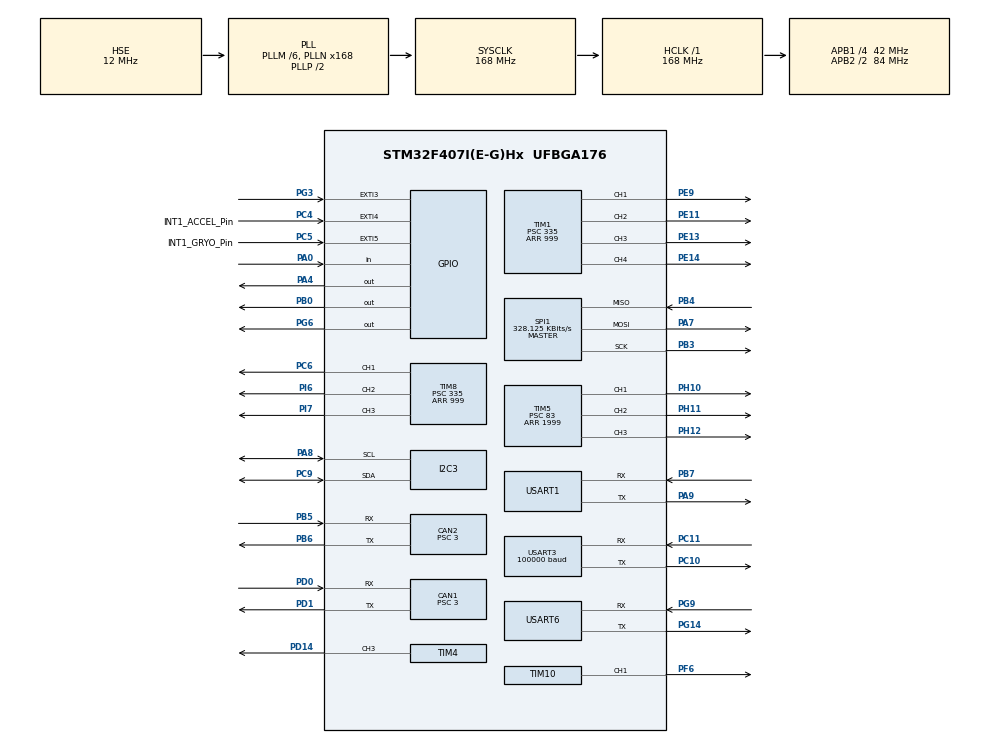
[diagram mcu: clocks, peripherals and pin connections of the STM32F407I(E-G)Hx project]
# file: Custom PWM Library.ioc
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CAN1.BS1=CAN_BS1_10TQ
CAN1.BS2=CAN_BS2_3TQ
CAN1.CalculateBaudRate=1000000
CAN1.CalculateTimeBit=1000
CAN1.CalculateTimeQuantum=71.42857142857143
CAN1.Prescaler=3
CAN2.BS1=CAN_BS1_10TQ
CAN2.BS2=CAN_BS2_3TQ
CAN2.CalculateBaudRate=1000000
CAN2.CalculateTimeBit=1000
CAN2.CalculateTimeQuantum=71.42857142857143
CAN2.Prescaler=3
Dma.Request0=USART3_RX
Dma.Request1=USART1_TX
Dma.Request2=USART1_RX
Dma.Request3=USART6_RX
Dma.Request4=USART6_TX
Dma.Request5=TIM8_CH1/CH2/CH3
Dma.Request6=TIM4_CH3
Dma.Request7=TIM1_CH1
Dma.TIM1_CH1.7.Direction=DMA_PERIPH_TO_MEMORY
Dma.TIM1_CH1.7.FIFOMode=DMA_FIFOMODE_DISABLE
Dma.TIM1_CH1.7.Instance=DMA2_Stream3
Dma.TIM1_CH1.7.MemDataAlignment=DMA_MDATAALIGN_HALFWORD
Dma.TIM1_CH1.7.MemInc=DMA_MINC_ENABLE
Dma.TIM1_CH1.7.Mode=DMA_NORMAL
Dma.TIM1_CH1.7.PeriphDataAlignment=DMA_PDATAALIGN_HALFWORD
Dma.TIM1_CH1.7.PeriphInc=DMA_PINC_DISABLE
Dma.TIM1_CH1.7.Priority=DMA_PRIORITY_LOW
Dma.TIM4_CH3.6.Direction=DMA_PERIPH_TO_MEMORY
Dma.TIM4_CH3.6.FIFOMode=DMA_FIFOMODE_DISABLE
Dma.TIM4_CH3.6.Instance=DMA1_Stream7
Dma.TIM4_CH3.6.MemDataAlignment=DMA_MDATAALIGN_HALFWORD
Dma.TIM4_CH3.6.MemInc=DMA_MINC_ENABLE
Dma.TIM4_CH3.6.Mode=DMA_NORMAL
Dma.TIM4_CH3.6.PeriphDataAlignment=DMA_PDATAALIGN_HALFWORD
Dma.TIM4_CH3.6.PeriphInc=DMA_PINC_DISABLE
Dma.TIM4_CH3.6.Priority=DMA_PRIORITY_LOW
Dma.TIM8_CH1/CH2/CH3.5.Direction=DMA_PERIPH_TO_MEMORY
Dma.TIM8_CH1/CH2/CH3.5.FIFOMode=DMA_FIFOMODE_DISABLE
Dma.TIM8_CH1/CH2/CH3.5.Instance=DMA2_Stream2
Dma.TIM8_CH1/CH2/CH3.5.MemDataAlignment=DMA_MDATAALIGN_HALFWORD
Dma.TIM8_CH1/CH2/CH3.5.MemInc=DMA_MINC_ENABLE
Dma.TIM8_CH1/CH2/CH3.5.Mode=DMA_NORMAL
Dma.TIM8_CH1/CH2/CH3.5.PeriphDataAlignment=DMA_PDATAALIGN_HALFWORD
Dma.TIM8_CH1/CH2/CH3.5.PeriphInc=DMA_PINC_DISABLE
Dma.TIM8_CH1/CH2/CH3.5.Priority=DMA_PRIORITY_LOW
Dma.USART1_RX.2.Direction=DMA_PERIPH_TO_MEMORY
Dma.USART1_RX.2.FIFOMode=DMA_FIFOMODE_DISABLE
Dma.USART1_RX.2.Instance=DMA2_Stream5
Dma.USART1_RX.2.MemDataAlignment=DMA_MDATAALIGN_BYTE
Dma.USART1_RX.2.MemInc=DMA_MINC_ENABLE
Dma.USART1_RX.2.Mode=DMA_NORMAL
Dma.USART1_RX.2.PeriphDataAlignment=DMA_PDATAALIGN_BYTE
Dma.USART1_RX.2.PeriphInc=DMA_PINC_DISABLE
Dma.USART1_RX.2.Priority=DMA_PRIORITY_VERY_HIGH
Dma.USART1_TX.1.Direction=DMA_MEMORY_TO_PERIPH
Dma.USART1_TX.1.FIFOMode=DMA_FIFOMODE_DISABLE
Dma.USART1_TX.1.Instance=DMA2_Stream7
Dma.USART1_TX.1.MemDataAlignment=DMA_MDATAALIGN_BYTE
Dma.USART1_TX.1.MemInc=DMA_MINC_ENABLE
Dma.USART1_TX.1.Mode=DMA_NORMAL
Dma.USART1_TX.1.PeriphDataAlignment=DMA_PDATAALIGN_BYTE
Dma.USART1_TX.1.PeriphInc=DMA_PINC_DISABLE
Dma.USART1_TX.1.Priority=DMA_PRIORITY_VERY_HIGH
Dma.USART3_RX.0.Direction=DMA_PERIPH_TO_MEMORY
Dma.USART3_RX.0.FIFOMode=DMA_FIFOMODE_DISABLE
Dma.USART3_RX.0.Instance=DMA1_Stream1
Dma.USART3_RX.0.MemDataAlignment=DMA_MDATAALIGN_BYTE
Dma.USART3_RX.0.MemInc=DMA_MINC_ENABLE
Dma.USART3_RX.0.Mode=DMA_CIRCULAR
Dma.USART3_RX.0.PeriphDataAlignment=DMA_PDATAALIGN_BYTE
Dma.USART3_RX.0.PeriphInc=DMA_PINC_DISABLE
Dma.USART3_RX.0.Priority=DMA_PRIORITY_VERY_HIGH
Dma.USART6_RX.3.Direction=DMA_PERIPH_TO_MEMORY
Dma.USART6_RX.3.FIFOMode=DMA_FIFOMODE_DISABLE
Dma.USART6_RX.3.Instance=DMA2_Stream1
Dma.USART6_RX.3.MemDataAlignment=DMA_MDATAALIGN_BYTE
Dma.USART6_RX.3.MemInc=DMA_MINC_ENABLE
Dma.USART6_RX.3.Mode=DMA_NORMAL
Dma.USART6_RX.3.PeriphDataAlignment=DMA_PDATAALIGN_BYTE
Dma.USART6_RX.3.PeriphInc=DMA_PINC_DISABLE
Dma.USART6_RX.3.Priority=DMA_PRIORITY_VERY_HIGH
Dma.USART6_TX.4.Direction=DMA_MEMORY_TO_PERIPH
Dma.USART6_TX.4.FIFOMode=DMA_FIFOMODE_DISABLE
Dma.USART6_TX.4.Instance=DMA2_Stream6
Dma.USART6_TX.4.MemDataAlignment=DMA_MDATAALIGN_BYTE
Dma.USART6_TX.4.MemInc=DMA_MINC_ENABLE
Dma.USART6_TX.4.Mode=DMA_NORMAL
Dma.USART6_TX.4.PeriphDataAlignment=DMA_PDATAALIGN_BYTE
Dma.USART6_TX.4.PeriphInc=DMA_PINC_DISABLE
Dma.USART6_TX.4.Priority=DMA_PRIORITY_VERY_HIGH
FREERTOS.INCLUDE_pcTaskGetTaskName=1
FREERTOS.INCLUDE_xTaskGetHandle=1
FREERTOS.Tasks01=defaultTask,32,1024,TaskMain,Default,NULL,Dynamic,NULL,NULL;chassisTask,40,1024,TaskChassis,Default,NULL,Dynamic,NULL,NULL;IMUtempPIDtask,24,512,imu_temp_control_task,As weak,NULL,Dynamic,NULL,NULL;turretTask,24,1024,TaskTurret,Default,NULL,Dynamic,NULL,NULL
FREERTOS.configUSE_NEWLIB_REENTRANT=1
I2C3.I2C_Mode=I2C_Fast
Mcu.Family=STM32F4
Mcu.Name=STM32F407I(E-G)Hx
Mcu.Package=UFBGA176
NVIC.CAN1_RX0_IRQn=true\:5\:0\:false\:false\:true\:true\:true\:true\:true
NVIC.CAN2_RX0_IRQn=true\:5\:0\:false\:false\:true\:true\:true\:true\:true
NVIC.DMA1_Stream1_IRQn=true\:5\:0\:false\:false\:true\:true\:false\:true\:true
NVIC.DMA1_Stream7_IRQn=true\:5\:0\:false\:false\:true\:true\:false\:true\:true
NVIC.DMA2_Stream1_IRQn=true\:5\:0\:false\:false\:true\:true\:false\:true\:true
NVIC.DMA2_Stream2_IRQn=true\:5\:0\:false\:false\:true\:true\:false\:true\:true
NVIC.DMA2_Stream3_IRQn=true\:5\:0\:false\:false\:true\:true\:false\:true\:true
NVIC.DMA2_Stream5_IRQn=true\:5\:0\:false\:false\:true\:true\:false\:true\:true
NVIC.DMA2_Stream6_IRQn=true\:5\:0\:false\:false\:true\:true\:false\:true\:true
NVIC.DMA2_Stream7_IRQn=true\:5\:0\:false\:false\:true\:true\:false\:true\:true
NVIC.EXTI3_IRQn=true\:5\:0\:false\:false\:true\:true\:true\:true\:true
NVIC.EXTI4_IRQn=true\:5\:0\:false\:false\:true\:true\:true\:true\:true
NVIC.PriorityGroup=NVIC_PRIORITYGROUP_4
NVIC.USART1_IRQn=true\:5\:0\:false\:false\:true\:true\:true\:true\:true
NVIC.USART3_IRQn=true\:5\:0\:false\:false\:false\:true\:true\:true\:true
NVIC.USART6_IRQn=true\:5\:0\:false\:false\:true\:true\:true\:true\:true
PA0-WKUP.Signal=GPIO_Input
PA13.Mode=Serial_Wire
PA13.Signal=SYS_JTMS-SWDIO
PA14.Mode=Serial_Wire
PA14.Signal=SYS_JTCK-SWCLK
PA4.Signal=GPIO_Output
PA7.Mode=Full_Duplex_Master
PA7.Signal=SPI1_MOSI
PA8.Mode=I2C
PA8.Signal=I2C3_SCL
PA9.Mode=Asynchronous
PA9.Signal=USART1_TX
PB0.Signal=GPIO_Output
PB3.Mode=Full_Duplex_Master
PB3.Signal=SPI1_SCK
PB4.Mode=Full_Duplex_Master
PB4.Signal=SPI1_MISO
PB5.Mode=CAN_Activate
PB5.Signal=CAN2_RX
PB6.Mode=CAN_Activate
PB6.Signal=CAN2_TX
PB7.Mode=Asynchronous
PB7.Signal=USART1_RX
PC10.Mode=Asynchronous
PC10.Signal=USART3_TX
PC11.Mode=Asynchronous
PC11.Signal=USART3_RX
PC4.GPIO_Label=INT1_ACCEL_Pin
PC4.Signal=GPXTI4
PC5.GPIO_Label=INT1_GRYO_Pin
PC5.Signal=GPXTI5
PC6.Signal=S_TIM8_CH1
PC9.Mode=I2C
PC9.Signal=I2C3_SDA
PD0.Mode=CAN_Activate
PD0.Signal=CAN1_RX
PD1.Mode=CAN_Activate
PD1.Signal=CAN1_TX
PD14.Signal=S_TIM4_CH3
PE11.Signal=S_TIM1_CH2
PE13.Signal=S_TIM1_CH3
PE14.Signal=S_TIM1_CH4
PE9.Signal=S_TIM1_CH1
PF6.GPIO_PuPd=GPIO_PULLUP
PF6.GPIO_Speed=GPIO_SPEED_FREQ_HIGH
PF6.Signal=S_TIM10_CH1
PG14.Mode=Asynchronous
PG14.Signal=USART6_TX
PG3.Signal=GPXTI3
PG6.Signal=GPIO_Output
PG9.Mode=Asynchronous
PG9.Signal=USART6_RX
PH0-OSC_IN.Mode=HSE-External-Oscillator
PH0-OSC_IN.Signal=RCC_OSC_IN
PH1-OSC_OUT.Mode=HSE-External-Oscillator
PH1-OSC_OUT.Signal=RCC_OSC_OUT
PH10.Signal=S_TIM5_CH1
PH11.Signal=S_TIM5_CH2
PH12.Signal=S_TIM5_CH3
PI6.Signal=S_TIM8_CH2
PI7.Signal=S_TIM8_CH3
ProjectManager.HeapSize=0x200
ProjectManager.StackSize=0x400
ProjectManager.TargetToolchain=STM32CubeIDE
RCC.48MHZClocksFreq_Value=84000000
RCC.AHBFreq_Value=168000000
RCC.APB1CLKDivider=RCC_HCLK_DIV4
RCC.APB1Freq_Value=42000000
RCC.APB1TimFreq_Value=84000000
RCC.APB2CLKDivider=RCC_HCLK_DIV2
RCC.APB2Freq_Value=84000000
RCC.APB2TimFreq_Value=168000000
RCC.CortexFreq_Value=168000000
RCC.EnbaleCSS=true
RCC.HCLKFreq_Value=168000000
RCC.HSE_VALUE=12000000
RCC.HSI_VALUE=16000000
RCC.LSE_VALUE=32768
RCC.PLLM=6
RCC.PLLN=168
RCC.PLLSourceVirtual=RCC_PLLSOURCE_HSE
RCC.SYSCLKFreq_VALUE=168000000
RCC.SYSCLKSource=RCC_SYSCLKSOURCE_PLLCLK
RCC.VCOOutputFreq_Value=336000000
SH.S_TIM10_CH1.0=TIM10_CH1,PWM Generation1 CH1
SH.S_TIM1_CH1.0=TIM1_CH1,PWM Generation1 CH1
SH.S_TIM1_CH2.0=TIM1_CH2,PWM Generation2 CH2
SH.S_TIM1_CH3.0=TIM1_CH3,PWM Generation3 CH3
SH.S_TIM1_CH4.0=TIM1_CH4,PWM Generation4 CH4
SH.S_TIM4_CH3.0=TIM4_CH3,PWM Generation3 CH3
SH.S_TIM5_CH1.0=TIM5_CH1,PWM Generation1 CH1
SH.S_TIM5_CH2.0=TIM5_CH2,PWM Generation2 CH2
SH.S_TIM5_CH3.0=TIM5_CH3,PWM Generation3 CH3
SH.S_TIM8_CH1.0=TIM8_CH1,PWM Generation1 CH1
SH.S_TIM8_CH2.0=TIM8_CH2,PWM Generation2 CH2
SH.S_TIM8_CH3.0=TIM8_CH3,PWM Generation3 CH3
SPI1.BaudRatePrescaler=SPI_BAUDRATEPRESCALER_256
SPI1.CLKPhase=SPI_PHASE_2EDGE
SPI1.CLKPolarity=SPI_POLARITY_HIGH
SPI1.CalculateBaudRate=328.125 KBits/s
SPI1.Direction=SPI_DIRECTION_2LINES
SPI1.Mode=SPI_MODE_MASTER
SPI1.VirtualType=VM_MASTER
TIM1.AutoReloadPreload=TIM_AUTORELOAD_PRELOAD_DISABLE
TIM1.Channel-PWM\ Generation1\ CH1=TIM_CHANNEL_1
TIM1.Channel-PWM\ Generation2\ CH2=TIM_CHANNEL_2
TIM1.Channel-PWM\ Generation3\ CH3=TIM_CHANNEL_3
TIM1.Channel-PWM\ Generation4\ CH4=TIM_CHANNEL_4
TIM1.Period=999
TIM1.Prescaler=335
TIM1.Pulse-PWM\ Generation1\ CH1=0
TIM10.Channel=TIM_CHANNEL_1
TIM10.Period=4999
TIM4.AutoReloadPreload=TIM_AUTORELOAD_PRELOAD_ENABLE
TIM4.Channel-PWM\ Generation3\ CH3=TIM_CHANNEL_3
TIM4.Period=249
TIM4.Prescaler=83
TIM4.Pulse-PWM\ Generation3\ CH3=10499
TIM5.Channel-PWM\ Generation1\ CH1=TIM_CHANNEL_1
TIM5.Channel-PWM\ Generation2\ CH2=TIM_CHANNEL_2
TIM5.Channel-PWM\ Generation3\ CH3=TIM_CHANNEL_3
TIM5.Period=1999
TIM5.Prescaler=83
TIM8.AutoReloadPreload=TIM_AUTORELOAD_PRELOAD_ENABLE
TIM8.Channel-PWM\ Generation1\ CH1=TIM_CHANNEL_1
TIM8.Channel-PWM\ Generation2\ CH2=TIM_CHANNEL_2
TIM8.Channel-PWM\ Generation3\ CH3=TIM_CHANNEL_3
TIM8.Period=999
TIM8.Prescaler=335
USART1.VirtualMode=VM_ASYNC
USART3.BaudRate=100000
USART3.Parity=PARITY_EVEN
USART3.VirtualMode=VM_ASYNC
USART6.VirtualMode=VM_ASYNC
VP_FREERTOS_VS_CMSIS_V2.Mode=CMSIS_V2
VP_TIM10_VS_ClockSourceINT.Mode=Enable_Timer
VP_TIM4_VS_ClockSourceINT.Mode=Internal
board=custom

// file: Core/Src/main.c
/* USER CODE BEGIN Header */
/**
  ******************************************************************************
  * @file           : main.c
  * @brief          : Main program body
  ******************************************************************************
  * @attention
  *
  * Copyright (c) 2024 STMicroelectronics.
  * All rights reserved.
  *
  * This software is licensed under terms that can be found in the LICENSE file
  * in the root directory of this software component.
  * If no LICENSE file comes with this software, it is provided AS-IS.
  *
  ******************************************************************************
  */
/* USER CODE END Header */
#include "main.h"
#include "cmsis_os.h"

/* USER CODE BEGIN Includes */
#include "pwm.h"
#include "UART.h"
#include "songs.h"
/* USER CODE END Includes */

CAN_HandleTypeDef hcan1;
CAN_HandleTypeDef hcan2;

I2C_HandleTypeDef hi2c3;

SPI_HandleTypeDef hspi1;

TIM_HandleTypeDef htim1;
TIM_HandleTypeDef htim4;
TIM_HandleTypeDef htim5;
TIM_HandleTypeDef htim8;
TIM_HandleTypeDef htim10;
DMA_HandleTypeDef hdma_tim1_ch1;
DMA_HandleTypeDef hdma_tim4_ch3;
DMA_HandleTypeDef hdma_tim8_ch1_ch2_ch3;

UART_HandleTypeDef huart1;
UART_HandleTypeDef huart3;
UART_HandleTypeDef huart6;
DMA_HandleTypeDef hdma_usart1_tx;
DMA_HandleTypeDef hdma_usart1_rx;
DMA_HandleTypeDef hdma_usart3_rx;
DMA_HandleTypeDef hdma_usart6_rx;
DMA_HandleTypeDef hdma_usart6_tx;

/* Definitions for defaultTask */
osThreadId_t defaultTaskHandle;
const osThreadAttr_t defaultTask_attributes = {
  .name = "defaultTask",
  .stack_size = 1024 * 4,
  .priority = (osPriority_t) osPriorityAboveNormal,
};
/* Definitions for chassisTask */
osThreadId_t chassisTaskHandle;
const osThreadAttr_t chassisTask_attributes = {
  .name = "chassisTask",
  .stack_size = 1024 * 4,
  .priority = (osPriority_t) osPriorityHigh,
};
/* Definitions for IMUtempPIDtask */
osThreadId_t IMUtempPIDtaskHandle;
const osThreadAttr_t IMUtempPIDtask_attributes = {
  .name = "IMUtempPIDtask",
  .stack_size = 512 * 4,
  .priority = (osPriority_t) osPriorityNormal,
};
/* Definitions for turretTask */
osThreadId_t turretTaskHandle;
const osThreadAttr_t turretTask_attributes = {
  .name = "turretTask",
  .stack_size = 1024 * 4,
  .priority = (osPriority_t) osPriorityNormal,
};

void SystemClock_Config(void);
static void MX_GPIO_Init(void);
static void MX_DMA_Init(void);
static void MX_CAN1_Init(void);
static void MX_CAN2_Init(void);
static void MX_SPI1_Init(void);
static void MX_TIM4_Init(void);
static void MX_USART1_UART_Init(void);
static void MX_USART6_UART_Init(void);
static void MX_TIM1_Init(void);
static void MX_TIM8_Init(void);
static void MX_USART3_UART_Init(void);
static void MX_TIM10_Init(void);
static void MX_I2C3_Init(void);
static void MX_TIM5_Init(void);
void TaskMain(void *argument);
void TaskChassis(void *argument);
void imu_temp_control_task(void *argument);
void TaskTurret(void *argument);

int main(void)
{

  /* MCU Configuration--------------------------------------------------------*/

  /* Reset of all peripherals, Initializes the Flash interface and the Systick. */
  HAL_Init();

  /* USER CODE BEGIN Init */
  usart_Init();
  /* USER CODE END Init */

  /* Configure the system clock */
  SystemClock_Config();

  /* Initialize all configured peripherals */
  MX_GPIO_Init();
  MX_DMA_Init();
  MX_CAN1_Init();
  MX_CAN2_Init();
  MX_SPI1_Init();
  MX_TIM4_Init();
  MX_USART1_UART_Init();
  MX_USART6_UART_Init();
  MX_TIM1_Init();
  MX_TIM8_Init();
  MX_USART3_UART_Init();
  MX_TIM10_Init();
  MX_I2C3_Init();
  MX_TIM5_Init();

  /* Init scheduler */
  osKernelInitialize();

  /* Create the thread(s) */
  /* creation of defaultTask */
  defaultTaskHandle = osThreadNew(TaskMain, NULL, &defaultTask_attributes);

  /* creation of chassisTask */
  chassisTaskHandle = osThreadNew(TaskChassis, NULL, &chassisTask_attributes);

  /* creation of IMUtempPIDtask */
  IMUtempPIDtaskHandle = osThreadNew(imu_temp_control_task, NULL, &IMUtempPIDtask_attributes);

  /* creation of turretTask */
  turretTaskHandle = osThreadNew(TaskTurret, NULL, &turretTask_attributes);

  /* Start scheduler */
  osKernelStart();

  /* We should never get here as control is now taken by the scheduler */

  /* Infinite loop */
  while (1)
  {

  }
}

void SystemClock_Config(void)
{
  RCC_OscInitTypeDef RCC_OscInitStruct = {0};
  RCC_ClkInitTypeDef RCC_ClkInitStruct = {0};

  /** Configure the main internal regulator output voltage
  */
  __HAL_RCC_PWR_CLK_ENABLE();
  __HAL_PWR_VOLTAGESCALING_CONFIG(PWR_REGULATOR_VOLTAGE_SCALE1);

  /** Initializes the RCC Oscillators according to the specified parameters
  * in the RCC_OscInitTypeDef structure.
  */
  RCC_OscInitStruct.OscillatorType = RCC_OSCILLATORTYPE_HSE;
  RCC_OscInitStruct.HSEState = RCC_HSE_ON;
  RCC_OscInitStruct.PLL.PLLState = RCC_PLL_ON;
  RCC_OscInitStruct.PLL.PLLSource = RCC_PLLSOURCE_HSE;
  RCC_OscInitStruct.PLL.PLLM = 6;
  RCC_OscInitStruct.PLL.PLLN = 168;
  RCC_OscInitStruct.PLL.PLLP = RCC_PLLP_DIV2;
  RCC_OscInitStruct.PLL.PLLQ = 4;
  if (HAL_RCC_OscConfig(&RCC_OscInitStruct) != HAL_OK)
  {
    Error_Handler();
  }

  /** Initializes the CPU, AHB and APB buses clocks
  */
  RCC_ClkInitStruct.ClockType = RCC_CLOCKTYPE_HCLK|RCC_CLOCKTYPE_SYSCLK
                              |RCC_CLOCKTYPE_PCLK1|RCC_CLOCKTYPE_PCLK2;
  RCC_ClkInitStruct.SYSCLKSource = RCC_SYSCLKSOURCE_PLLCLK;
  RCC_ClkInitStruct.AHBCLKDivider = RCC_SYSCLK_DIV1;
  RCC_ClkInitStruct.APB1CLKDivider = RCC_HCLK_DIV4;
  RCC_ClkInitStruct.APB2CLKDivider = RCC_HCLK_DIV2;

  if (HAL_RCC_ClockConfig(&RCC_ClkInitStruct, FLASH_LATENCY_5) != HAL_OK)
  {
    Error_Handler();
  }

  /** Enables the Clock Security System
  */
  HAL_RCC_EnableCSS();
}

static void MX_CAN1_Init(void)
{

  hcan1.Instance = CAN1;
  hcan1.Init.Prescaler = 3;
  hcan1.Init.Mode = CAN_MODE_NORMAL;
  hcan1.Init.SyncJumpWidth = CAN_SJW_1TQ;
  hcan1.Init.TimeSeg1 = CAN_BS1_10TQ;
  hcan1.Init.TimeSeg2 = CAN_BS2_3TQ;
  hcan1.Init.TimeTriggeredMode = DISABLE;
  hcan1.Init.AutoBusOff = DISABLE;
  hcan1.Init.AutoWakeUp = DISABLE;
  hcan1.Init.AutoRetransmission = DISABLE;
  hcan1.Init.ReceiveFifoLocked = DISABLE;
  hcan1.Init.TransmitFifoPriority = DISABLE;
  if (HAL_CAN_Init(&hcan1) != HAL_OK)
  {
    Error_Handler();
  }

}

static void MX_CAN2_Init(void)
{

  hcan2.Instance = CAN2;
  hcan2.Init.Prescaler = 3;
  hcan2.Init.Mode = CAN_MODE_NORMAL;
  hcan2.Init.SyncJumpWidth = CAN_SJW_1TQ;
  hcan2.Init.TimeSeg1 = CAN_BS1_10TQ;
  hcan2.Init.TimeSeg2 = CAN_BS2_3TQ;
  hcan2.Init.TimeTriggeredMode = DISABLE;
  hcan2.Init.AutoBusOff = DISABLE;
  hcan2.Init.AutoWakeUp = DISABLE;
  hcan2.Init.AutoRetransmission = DISABLE;
  hcan2.Init.ReceiveFifoLocked = DISABLE;
  hcan2.Init.TransmitFifoPriority = DISABLE;
  if (HAL_CAN_Init(&hcan2) != HAL_OK)
  {
    Error_Handler();
  }

}

static void MX_I2C3_Init(void)
{

  hi2c3.Instance = I2C3;
  hi2c3.Init.ClockSpeed = 400000;
  hi2c3.Init.DutyCycle = I2C_DUTYCYCLE_2;
  hi2c3.Init.OwnAddress1 = 0;
  hi2c3.Init.AddressingMode = I2C_ADDRESSINGMODE_7BIT;
  hi2c3.Init.DualAddressMode = I2C_DUALADDRESS_DISABLE;
  hi2c3.Init.OwnAddress2 = 0;
  hi2c3.Init.GeneralCallMode = I2C_GENERALCALL_DISABLE;
  hi2c3.Init.NoStretchMode = I2C_NOSTRETCH_DISABLE;
  if (HAL_I2C_Init(&hi2c3) != HAL_OK)
  {
    Error_Handler();
  }

}

static void MX_SPI1_Init(void)
{

  /* SPI1 parameter configuration*/
  hspi1.Instance = SPI1;
  hspi1.Init.Mode = SPI_MODE_MASTER;
  hspi1.Init.Direction = SPI_DIRECTION_2LINES;
  hspi1.Init.DataSize = SPI_DATASIZE_8BIT;
  hspi1.Init.CLKPolarity = SPI_POLARITY_HIGH;
  hspi1.Init.CLKPhase = SPI_PHASE_2EDGE;
  hspi1.Init.NSS = SPI_NSS_SOFT;
  hspi1.Init.BaudRatePrescaler = SPI_BAUDRATEPRESCALER_256;
  hspi1.Init.FirstBit = SPI_FIRSTBIT_MSB;
  hspi1.Init.TIMode = SPI_TIMODE_DISABLE;
  hspi1.Init.CRCCalculation = SPI_CRCCALCULATION_DISABLE;
  hspi1.Init.CRCPolynomial = 10;
  if (HAL_SPI_Init(&hspi1) != HAL_OK)
  {
    Error_Handler();
  }

}

static void MX_TIM1_Init(void)
{

  TIM_MasterConfigTypeDef sMasterConfig = {0};
  TIM_OC_InitTypeDef sConfigOC = {0};
  TIM_BreakDeadTimeConfigTypeDef sBreakDeadTimeConfig = {0};

  htim1.Instance = TIM1;
  htim1.Init.Prescaler = 335;
  htim1.Init.CounterMode = TIM_COUNTERMODE_UP;
  htim1.Init.Period = 999;
  htim1.Init.ClockDivision = TIM_CLOCKDIVISION_DIV1;
  htim1.Init.RepetitionCounter = 0;
  htim1.Init.AutoReloadPreload = TIM_AUTORELOAD_PRELOAD_DISABLE;
  if (HAL_TIM_PWM_Init(&htim1) != HAL_OK)
  {
    Error_Handler();
  }
  sMasterConfig.MasterOutputTrigger = TIM_TRGO_RESET;
  sMasterConfig.MasterSlaveMode = TIM_MASTERSLAVEMODE_DISABLE;
  if (HAL_TIMEx_MasterConfigSynchronization(&htim1, &sMasterConfig) != HAL_OK)
  {
    Error_Handler();
  }
  sConfigOC.OCMode = TIM_OCMODE_PWM1;
  sConfigOC.Pulse = 0;
  sConfigOC.OCPolarity = TIM_OCPOLARITY_HIGH;
  sConfigOC.OCNPolarity = TIM_OCNPOLARITY_HIGH;
  sConfigOC.OCFastMode = TIM_OCFAST_DISABLE;
  sConfigOC.OCIdleState = TIM_OCIDLESTATE_RESET;
  sConfigOC.OCNIdleState = TIM_OCNIDLESTATE_RESET;
  if (HAL_TIM_PWM_ConfigChannel(&htim1, &sConfigOC, TIM_CHANNEL_1) != HAL_OK)
  {
    Error_Handler();
  }
  if (HAL_TIM_PWM_ConfigChannel(&htim1, &sConfigOC, TIM_CHANNEL_2) != HAL_OK)
  {
    Error_Handler();
  }
  if (HAL_TIM_PWM_ConfigChannel(&htim1, &sConfigOC, TIM_CHANNEL_3) != HAL_OK)
  {
    Error_Handler();
  }
  if (HAL_TIM_PWM_ConfigChannel(&htim1, &sConfigOC, TIM_CHANNEL_4) != HAL_OK)
  {
    Error_Handler();
  }
  sBreakDeadTimeConfig.OffStateRunMode = TIM_OSSR_DISABLE;
  sBreakDeadTimeConfig.OffStateIDLEMode = TIM_OSSI_DISABLE;
  sBreakDeadTimeConfig.LockLevel = TIM_LOCKLEVEL_OFF;
  sBreakDeadTimeConfig.DeadTime = 0;
  sBreakDeadTimeConfig.BreakState = TIM_BREAK_DISABLE;
  sBreakDeadTimeConfig.BreakPolarity = TIM_BREAKPOLARITY_HIGH;
  sBreakDeadTimeConfig.AutomaticOutput = TIM_AUTOMATICOUTPUT_DISABLE;
  if (HAL_TIMEx_ConfigBreakDeadTime(&htim1, &sBreakDeadTimeConfig) != HAL_OK)
  {
    Error_Handler();
  }
  HAL_TIM_MspPostInit(&htim1);

}

static void MX_TIM4_Init(void)
{

  TIM_ClockConfigTypeDef sClockSourceConfig = {0};
  TIM_MasterConfigTypeDef sMasterConfig = {0};
  TIM_OC_InitTypeDef sConfigOC = {0};

  htim4.Instance = TIM4;
  htim4.Init.Prescaler = 83;
  htim4.Init.CounterMode = TIM_COUNTERMODE_UP;
  htim4.Init.Period = 249;
  htim4.Init.ClockDivision = TIM_CLOCKDIVISION_DIV1;
  htim4.Init.AutoReloadPreload = TIM_AUTORELOAD_PRELOAD_ENABLE;
  if (HAL_TIM_Base_Init(&htim4) != HAL_OK)
  {
    Error_Handler();
  }
  sClockSourceConfig.ClockSource = TIM_CLOCKSOURCE_INTERNAL;
  if (HAL_TIM_ConfigClockSource(&htim4, &sClockSourceConfig) != HAL_OK)
  {
    Error_Handler();
  }
  if (HAL_TIM_PWM_Init(&htim4) != HAL_OK)
  {
    Error_Handler();
  }
  sMasterConfig.MasterOutputTrigger = TIM_TRGO_RESET;
  sMasterConfig.MasterSlaveMode = TIM_MASTERSLAVEMODE_DISABLE;
  if (HAL_TIMEx_MasterConfigSynchronization(&htim4, &sMasterConfig) != HAL_OK)
  {
    Error_Handler();
  }
  sConfigOC.OCMode = TIM_OCMODE_PWM1;
  sConfigOC.Pulse = 10499;
  sConfigOC.OCPolarity = TIM_OCPOLARITY_HIGH;
  sConfigOC.OCFastMode = TIM_OCFAST_DISABLE;
  if (HAL_TIM_PWM_ConfigChannel(&htim4, &sConfigOC, TIM_CHANNEL_3) != HAL_OK)
  {
    Error_Handler();
  }
  HAL_TIM_MspPostInit(&htim4);

}

static void MX_TIM5_Init(void)
{

  TIM_MasterConfigTypeDef sMasterConfig = {0};
  TIM_OC_InitTypeDef sConfigOC = {0};

  htim5.Instance = TIM5;
  htim5.Init.Prescaler = 83;
  htim5.Init.CounterMode = TIM_COUNTERMODE_UP;
  htim5.Init.Period = 1999;
  htim5.Init.ClockDivision = TIM_CLOCKDIVISION_DIV1;
  htim5.Init.AutoReloadPreload = TIM_AUTORELOAD_PRELOAD_DISABLE;
  if (HAL_TIM_PWM_Init(&htim5) != HAL_OK)
  {
    Error_Handler();
  }
  sMasterConfig.MasterOutputTrigger = TIM_TRGO_RESET;
  sMasterConfig.MasterSlaveMode = TIM_MASTERSLAVEMODE_DISABLE;
  if (HAL_TIMEx_MasterConfigSynchronization(&htim5, &sMasterConfig) != HAL_OK)
  {
    Error_Handler();
  }
  sConfigOC.OCMode = TIM_OCMODE_PWM1;
  sConfigOC.Pulse = 0;
  sConfigOC.OCPolarity = TIM_OCPOLARITY_HIGH;
  sConfigOC.OCFastMode = TIM_OCFAST_DISABLE;
  if (HAL_TIM_PWM_ConfigChannel(&htim5, &sConfigOC, TIM_CHANNEL_1) != HAL_OK)
  {
    Error_Handler();
  }
  if (HAL_TIM_PWM_ConfigChannel(&htim5, &sConfigOC, TIM_CHANNEL_2) != HAL_OK)
  {
    Error_Handler();
  }
  if (HAL_TIM_PWM_ConfigChannel(&htim5, &sConfigOC, TIM_CHANNEL_3) != HAL_OK)
  {
    Error_Handler();
  }
  HAL_TIM_MspPostInit(&htim5);

}

static void MX_TIM8_Init(void)
{

  TIM_MasterConfigTypeDef sMasterConfig = {0};
  TIM_OC_InitTypeDef sConfigOC = {0};
  TIM_BreakDeadTimeConfigTypeDef sBreakDeadTimeConfig = {0};

  htim8.Instance = TIM8;
  htim8.Init.Prescaler = 335;
  htim8.Init.CounterMode = TIM_COUNTERMODE_UP;
  htim8.Init.Period = 999;
  htim8.Init.ClockDivision = TIM_CLOCKDIVISION_DIV1;
  htim8.Init.RepetitionCounter = 0;
  htim8.Init.AutoReloadPreload = TIM_AUTORELOAD_PRELOAD_ENABLE;
  if (HAL_TIM_PWM_Init(&htim8) != HAL_OK)
  {
    Error_Handler();
  }
  sMasterConfig.MasterOutputTrigger = TIM_TRGO_RESET;
  sMasterConfig.MasterSlaveMode = TIM_MASTERSLAVEMODE_DISABLE;
  if (HAL_TIMEx_MasterConfigSynchronization(&htim8, &sMasterConfig) != HAL_OK)
  {
    Error_Handler();
  }
  sConfigOC.OCMode = TIM_OCMODE_PWM1;
  sConfigOC.Pulse = 0;
  sConfigOC.OCPolarity = TIM_OCPOLARITY_HIGH;
  sConfigOC.OCNPolarity = TIM_OCNPOLARITY_HIGH;
  sConfigOC.OCFastMode = TIM_OCFAST_DISABLE;
  sConfigOC.OCIdleState = TIM_OCIDLESTATE_RESET;
  sConfigOC.OCNIdleState = TIM_OCNIDLESTATE_RESET;
  if (HAL_TIM_PWM_ConfigChannel(&htim8, &sConfigOC, TIM_CHANNEL_1) != HAL_OK)
  {
    Error_Handler();
  }
  if (HAL_TIM_PWM_ConfigChannel(&htim8, &sConfigOC, TIM_CHANNEL_2) != HAL_OK)
  {
    Error_Handler();
  }
  if (HAL_TIM_PWM_ConfigChannel(&htim8, &sConfigOC, TIM_CHANNEL_3) != HAL_OK)
  {
    Error_Handler();
  }
  sBreakDeadTimeConfig.OffStateRunMode = TIM_OSSR_DISABLE;
  sBreakDeadTimeConfig.OffStateIDLEMode = TIM_OSSI_DISABLE;
  sBreakDeadTimeConfig.LockLevel = TIM_LOCKLEVEL_OFF;
  sBreakDeadTimeConfig.DeadTime = 0;
  sBreakDeadTimeConfig.BreakState = TIM_BREAK_DISABLE;
  sBreakDeadTimeConfig.BreakPolarity = TIM_BREAKPOLARITY_HIGH;
  sBreakDeadTimeConfig.AutomaticOutput = TIM_AUTOMATICOUTPUT_DISABLE;
  if (HAL_TIMEx_ConfigBreakDeadTime(&htim8, &sBreakDeadTimeConfig) != HAL_OK)
  {
    Error_Handler();
  }
  HAL_TIM_MspPostInit(&htim8);

}

static void MX_TIM10_Init(void)
{

  TIM_OC_InitTypeDef sConfigOC = {0};

  htim10.Instance = TIM10;
  htim10.Init.Prescaler = 0;
  htim10.Init.CounterMode = TIM_COUNTERMODE_UP;
  htim10.Init.Period = 4999;
  htim10.Init.ClockDivision = TIM_CLOCKDIVISION_DIV1;
  htim10.Init.AutoReloadPreload = TIM_AUTORELOAD_PRELOAD_DISABLE;
  if (HAL_TIM_Base_Init(&htim10) != HAL_OK)
  {
    Error_Handler();
  }
  if (HAL_TIM_PWM_Init(&htim10) != HAL_OK)
  {
    Error_Handler();
  }
  sConfigOC.OCMode = TIM_OCMODE_PWM1;
  sConfigOC.Pulse = 0;
  sConfigOC.OCPolarity = TIM_OCPOLARITY_HIGH;
  sConfigOC.OCFastMode = TIM_OCFAST_DISABLE;
  if (HAL_TIM_PWM_ConfigChannel(&htim10, &sConfigOC, TIM_CHANNEL_1) != HAL_OK)
  {
    Error_Handler();
  }
  HAL_TIM_MspPostInit(&htim10);

}

static void MX_USART1_UART_Init(void)
{

  huart1.Instance = USART1;
  huart1.Init.BaudRate = 115200;
  huart1.Init.WordLength = UART_WORDLENGTH_8B;
  huart1.Init.StopBits = UART_STOPBITS_1;
  huart1.Init.Parity = UART_PARITY_NONE;
  huart1.Init.Mode = UART_MODE_TX_RX;
  huart1.Init.HwFlowCtl = UART_HWCONTROL_NONE;
  huart1.Init.OverSampling = UART_OVERSAMPLING_16;
  if (HAL_UART_Init(&huart1) != HAL_OK)
  {
    Error_Handler();
  }

}

static void MX_USART3_UART_Init(void)
{

  huart3.Instance = USART3;
  huart3.Init.BaudRate = 100000;
  huart3.Init.WordLength = UART_WORDLENGTH_8B;
  huart3.Init.StopBits = UART_STOPBITS_1;
  huart3.Init.Parity = UART_PARITY_EVEN;
  huart3.Init.Mode = UART_MODE_TX_RX;
  huart3.Init.HwFlowCtl = UART_HWCONTROL_NONE;
  huart3.Init.OverSampling = UART_OVERSAMPLING_16;
  if (HAL_UART_Init(&huart3) != HAL_OK)
  {
    Error_Handler();
  }

}

static void MX_USART6_UART_Init(void)
{

  huart6.Instance = USART6;
  huart6.Init.BaudRate = 115200;
  huart6.Init.WordLength = UART_WORDLENGTH_8B;
  huart6.Init.StopBits = UART_STOPBITS_1;
  huart6.Init.Parity = UART_PARITY_NONE;
  huart6.Init.Mode = UART_MODE_TX_RX;
  huart6.Init.HwFlowCtl = UART_HWCONTROL_NONE;
  huart6.Init.OverSampling = UART_OVERSAMPLING_16;
  if (HAL_UART_Init(&huart6) != HAL_OK)
  {
    Error_Handler();
  }

}

static void MX_DMA_Init(void)
{

  /* DMA controller clock enable */
  __HAL_RCC_DMA1_CLK_ENABLE();
  __HAL_RCC_DMA2_CLK_ENABLE();

  /* DMA interrupt init */
  /* DMA1_Stream1_IRQn interrupt configuration */
  HAL_NVIC_SetPriority(DMA1_Stream1_IRQn, 5, 0);
  HAL_NVIC_EnableIRQ(DMA1_Stream1_IRQn);
  /* DMA1_Stream7_IRQn interrupt configuration */
  HAL_NVIC_SetPriority(DMA1_Stream7_IRQn, 5, 0);
  HAL_NVIC_EnableIRQ(DMA1_Stream7_IRQn);
  /* DMA2_Stream1_IRQn interrupt configuration */
  HAL_NVIC_SetPriority(DMA2_Stream1_IRQn, 5, 0);
  HAL_NVIC_EnableIRQ(DMA2_Stream1_IRQn);
  /* DMA2_Stream2_IRQn interrupt configuration */
  HAL_NVIC_SetPriority(DMA2_Stream2_IRQn, 5, 0);
  HAL_NVIC_EnableIRQ(DMA2_Stream2_IRQn);
  /* DMA2_Stream3_IRQn interrupt configuration */
  HAL_NVIC_SetPriority(DMA2_Stream3_IRQn, 5, 0);
  HAL_NVIC_EnableIRQ(DMA2_Stream3_IRQn);
  /* DMA2_Stream5_IRQn interrupt configuration */
  HAL_NVIC_SetPriority(DMA2_Stream5_IRQn, 5, 0);
  HAL_NVIC_EnableIRQ(DMA2_Stream5_IRQn);
  /* DMA2_Stream6_IRQn interrupt configuration */
  HAL_NVIC_SetPriority(DMA2_Stream6_IRQn, 5, 0);
  HAL_NVIC_EnableIRQ(DMA2_Stream6_IRQn);
  /* DMA2_Stream7_IRQn interrupt configuration */
  HAL_NVIC_SetPriority(DMA2_Stream7_IRQn, 5, 0);
  HAL_NVIC_EnableIRQ(DMA2_Stream7_IRQn);

}

static void MX_GPIO_Init(void)
{
  GPIO_InitTypeDef GPIO_InitStruct = {0};

  /* GPIO Ports Clock Enable */
  __HAL_RCC_GPIOB_CLK_ENABLE();
  __HAL_RCC_GPIOG_CLK_ENABLE();
  __HAL_RCC_GPIOA_CLK_ENABLE();
  __HAL_RCC_GPIOD_CLK_ENABLE();
  __HAL_RCC_GPIOC_CLK_ENABLE();
  __HAL_RCC_GPIOI_CLK_ENABLE();
  __HAL_RCC_GPIOH_CLK_ENABLE();
  __HAL_RCC_GPIOF_CLK_ENABLE();
  __HAL_RCC_GPIOE_CLK_ENABLE();

  /*Configure GPIO pin Output Level */
  HAL_GPIO_WritePin(GPIOG, GPIO_PIN_6, GPIO_PIN_RESET);

  /*Configure GPIO pin Output Level */
  HAL_GPIO_WritePin(GPIOA, GPIO_PIN_4, GPIO_PIN_RESET);

  /*Configure GPIO pin Output Level */
  HAL_GPIO_WritePin(GPIOB, GPIO_PIN_0, GPIO_PIN_RESET);

  /*Configure GPIO pin : PG6 */
  GPIO_InitStruct.Pin = GPIO_PIN_6;
  GPIO_InitStruct.Mode = GPIO_MODE_OUTPUT_PP;
  GPIO_InitStruct.Pull = GPIO_NOPULL;
  GPIO_InitStruct.Speed = GPIO_SPEED_FREQ_LOW;
  HAL_GPIO_Init(GPIOG, &GPIO_InitStruct);

  /*Configure GPIO pin : PG3 */
  GPIO_InitStruct.Pin = GPIO_PIN_3;
  GPIO_InitStruct.Mode = GPIO_MODE_IT_RISING;
  GPIO_InitStruct.Pull = GPIO_NOPULL;
  HAL_GPIO_Init(GPIOG, &GPIO_InitStruct);

  /*Configure GPIO pin : PA0 */
  GPIO_InitStruct.Pin = GPIO_PIN_0;
  GPIO_InitStruct.Mode = GPIO_MODE_INPUT;
  GPIO_InitStruct.Pull = GPIO_NOPULL;
  HAL_GPIO_Init(GPIOA, &GPIO_InitStruct);

  /*Configure GPIO pin : PA4 */
  GPIO_InitStruct.Pin = GPIO_PIN_4;
  GPIO_InitStruct.Mode = GPIO_MODE_OUTPUT_PP;
  GPIO_InitStruct.Pull = GPIO_NOPULL;
  GPIO_InitStruct.Speed = GPIO_SPEED_FREQ_LOW;
  HAL_GPIO_Init(GPIOA, &GPIO_InitStruct);

  /*Configure GPIO pins : INT1_ACCEL_Pin_Pin INT1_GRYO_Pin_Pin */
  GPIO_InitStruct.Pin = INT1_ACCEL_Pin_Pin|INT1_GRYO_Pin_Pin;
  GPIO_InitStruct.Mode = GPIO_MODE_IT_RISING;
  GPIO_InitStruct.Pull = GPIO_NOPULL;
  HAL_GPIO_Init(GPIOC, &GPIO_InitStruct);

  /*Configure GPIO pin : PB0 */
  GPIO_InitStruct.Pin = GPIO_PIN_0;
  GPIO_InitStruct.Mode = GPIO_MODE_OUTPUT_PP;
  GPIO_InitStruct.Pull = GPIO_NOPULL;
  GPIO_InitStruct.Speed = GPIO_SPEED_FREQ_LOW;
  HAL_GPIO_Init(GPIOB, &GPIO_InitStruct);

  /* EXTI interrupt init*/
  HAL_NVIC_SetPriority(EXTI3_IRQn, 5, 0);
  HAL_NVIC_EnableIRQ(EXTI3_IRQn);

  HAL_NVIC_SetPriority(EXTI4_IRQn, 5, 0);
  HAL_NVIC_EnableIRQ(EXTI4_IRQn);

}

void TaskMain(void *argument)
{
  for(;;)
  {
  osDelay(1);
  }
}

void TaskChassis(void *argument)
{
  /* USER CODE BEGIN TaskChassis */
  /* Infinite loop */
	/*
  HAL_TIM_Base_Start(&htim1);
  HAL_TIM_Base_Start(&htim4);
  HAL_TIM_Base_Start(&htim5);
  HAL_TIM_Base_Start(&htim8);
  */
  PWMInit(&htim1, &htim4, &htim5, &htim8);

  int16_t speedOfPulse = 100;
  int16_t negativeComponent = speedOfPulse*(-0.5f);
  float FancyLEDscaler = (1/(float)speedOfPulse);

  int8_t iSwapper = 0;
  int16_t iVal = negativeComponent;
  int8_t iSwapper1 = 0;
  int16_t iVal1 = negativeComponent*-1;
  int8_t iSwapper2 = 1;
  int16_t iVal2 = negativeComponent*-1;

  int16_t MotorCycle = 400;
  /*
  uint16_t timeTracker = 0;
  uint16_t noteTracker = 0;

  uint32_t frequenciesAtA4[11] = {440, 494, 523, 587, 659, 698, 784, 880, 988, 1047, 10};
  uint8_t NeverGoingToGiveYouUpNotes[61] = {2, 3, 5, 3, 7, 10, 7, 6, 2, 3, 5, 3, 6, 10, 6, 5, 4, 3, 2, 3, 5, 3, 5, 6, 4, 3, 2, 10, 2, 6, 5, 2, 3, 5, 3, 7, 10, 7, 6, 2, 3, 5, 3, 9, 4, 5, 4, 3, 2, 3, 5, 3, 5, 6, 4, 3, 2, 10, 2, 6, 5};
  uint8_t NeverGoingToGiveYouUpRests[61] = {10, 10, 10, 10, 29, 1, 30, 60, 10, 10, 10, 10, 29, 1, 30, 30, 10, 20, 10, 10, 10, 10, 40, 20, 30, 10, 39, 1, 20, 40, 80, 10, 10, 10, 10, 29, 1, 30, 60, 10, 10, 10, 10, 40, 20, 30, 10, 20, 10, 10, 10, 10, 40, 20, 30, 10, 39, 1, 20, 40, 80};
  */
  // int8_t iSwapper3 = 1;
  // int16_t buzzerVal = 0;
  // int8_t swapper = 0;

  int16_t servoPosition = 1200;

  /*
  htim5.Init.Period = 99;

  htim5.Instance->CCR2=80;
  */
  // HAL_TIM_PWM_Start(&htim4, TIM_CHANNEL_3);
  for(;;)
  {
	  /*
	if (timeTracker > NeverGoingToGiveYouUpRests[noteTracker]) {
		noteTracker++;
		timeTracker = 0;
	}

	if (noteTracker > 60) {
		noteTracker = 0;
	}

	PWMOutput(Buzzer, 1, frequenciesAtA4[NeverGoingToGiveYouUpNotes[noteTracker]]);

	timeTracker++;
	*/
	// PWMOutput(Buzzer, 1, NeverGonnaGiveYouUpNotes());
	// PWMOutput(Buzzer, 1, CaliforniaGirlsNotes());
	// PWMOutput(Buzzer, 1, HampsterNotes());
	// PWMOutput(Buzzer, 1, 100);
	if (iVal > speedOfPulse) {
		iVal = speedOfPulse-1;
		iSwapper = 1;
	} else if (iVal < negativeComponent) {
		iVal = negativeComponent+1;
		iSwapper = 0;
	}
	if (iSwapper == 1) {
		iVal--;
	} else {
		iVal++;
	}

	if (iVal1 > speedOfPulse) {
		iVal1 = speedOfPulse-1;
		iSwapper1 = 1;
	} else if (iVal1 < negativeComponent) {
		iVal1 = negativeComponent+1;
		iSwapper1 = 0;
	}
	if (iSwapper1 == 1) {
		iVal1--;
	} else {
		iVal1++;
	}

	if (iVal2 > speedOfPulse) {
		iVal2 = speedOfPulse-1;
		iSwapper2 = 1;
	} else if (iVal2 < negativeComponent) {
		iVal2 = negativeComponent+1;
		iSwapper2 = 0;
	}
	if (iSwapper2 == 1) {
		iVal2--;
	} else {
		iVal2++;
	}

	int16_t Val = iVal;
	if (iVal < 0) {
		Val = 0;
	}
	int16_t Val1 = iVal1;
	if (iVal1 < 0) {
		Val1 = 0;
	}
	int16_t Val2 = iVal2;
	if (iVal2 < 0) {
		Val2 = 0;
	}

	float realVal = Val * FancyLEDscaler;
	float realVal1 = Val1 * FancyLEDscaler;
	float realVal2 = Val2 * FancyLEDscaler;

	// usart_printf("%d\r\n", iVal);
	// (TypesThatUsePWM_t Type, int8_t Position, int16_t desiredFrequency)

	int8_t KEY = HAL_GPIO_ReadPin(GPIOA, GPIO_PIN_0);
	if (MotorCycle > 1650) {
		MotorCycle = 1650;

	} else if (MotorCycle < 950) {
		MotorCycle = 950;
	}

	if (KEY == 1) {
		MotorCycle = MotorCycle - 6;
		servoPosition = 1000;
		// PWMOff(Buzzer, 1);

	} else {
		initializeCaliforniaGirls();
		MotorCycle = MotorCycle + 6;
		servoPosition = 2500;
		// PWMOutput(Buzzer, 1, 1000);
	}
	// usart_printf("%d %d\r\n", KEY, MotorCycle);
	// usart_printf("%d %d %d  0\r\n", iVal, iVal1, iVal2);

	// htim4.Instance->CCR3=150;
	PWMOutput(LED, 3, 500);
	PWMOutput(LED, 2, 500);
	PWMOutput(LED, 1, 500);
	//(htim1).Init.Period = 999;
	PWMOutput(Motor, 2, 500);
	// PWMOutput(Buzzer, 1, frequenciesAtA4[NeverGoingToGiveYouUpNotes[noteTracker]]);
	// PWMOutput(Motor, 1, 50);

	//PWMOutput(Buzzer, 1, 90);
	// usart_printf("beanis7\r\n");

	// (TypesThatUsePWM_t Type, msOrFullRange microsecondOrFullrange, int8_t position, float val)
	/*
	PWMInitialize(LED, FR, 3, realVal2);
	PWMInitialize(LED, FR, 2, realVal);
	PWMInitialize(LED, FR, 1, realVal1);
	// (htim1).Instance->CCR1=499;

	// PWMInitialize(Motor, FR, 1, 0.5);
	PWMInitialize(Motor, MS, 2, MotorCycle);
	*/
	// PWMInitialize(Motor, MS, 1, servoPosition);

	// PWMInitialize(Buzzer, FR, 1, 0.5);

	// PWMInitialize(Buzzer, FR, 1, 0.5);
	/*
	if (swapper == 1) {
		PWMOff(Buzzer, 1);
		swapper = 0;
	} else {
		PWMOutput(Buzzer, 1, 4000);
		swapper = 1;
	}
	*/
	// PWMOutput(Motor, 1, 900);
	// htim1.Init.Period = 500;
	// PWMInitialize(Motor, FR, 1, 0.5);
	// htim4.Instance->CCR3=150;

    // int32_t value = calculateOutputPeriodValue (LED, FR, 2, 0.5);

	// uint8_t txDataBuffer = 0x0f;
	// HAL_UART_Transmit_DMA(&huart1, &txDataBuffer,8);
	// (*tim5).Instance->CCR2=value;

	// htim5.Init.Period = 1000;

	// htim5.Instance->CCR2=400;
	// mainPrint();

	PWMTimerStarter();

    osDelay(10);
  }
  /* USER CODE END TaskChassis */
}

__weak void imu_temp_control_task(void *argument)
{
  for(;;)
  {
    osDelay(1);
  }
}

void TaskTurret(void *argument)
{
  for(;;)
  {
    osDelay(1);
  }
}

void Error_Handler(void)
{
  __disable_irq();
  while (1)
  {
  }
}
